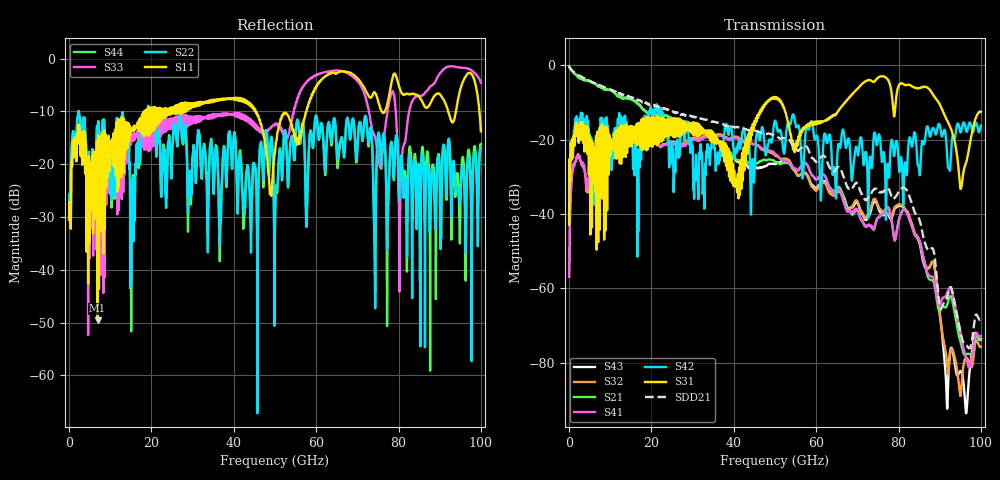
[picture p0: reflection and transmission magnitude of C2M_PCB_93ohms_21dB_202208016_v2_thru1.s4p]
! Info: Touchstone file created by Circ.  Input file=Intel_C2M_200G_8p0in_202208016_staggered.circ
# Hz S RI R 50
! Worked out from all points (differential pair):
!   10000 points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, 10 MHz to 100 GHz, reference 50 ohm
!   strongest paths, dB at 10 MHz, 25.01 GHz, 50.01 GHz, 75.01 GHz, 100 GHz:
!     S31: -42.9, -16.8, -8.6, -3.4, -12.5
!     S42: -42.9, -24.8, -14.9, -19.8, -16.3
!     S41: -56.9, -21.1, -23.8, -41.0, -72.8
!     S21: -0.3, -14.2, -26.0, -41.0, -73.9
!     S32: -56.9, -20.9, -24.3, -37.6, -75.8
!     S43: -0.3, -14.2, -26.7, -38.1, -73.6
!   taken as a pair (ports 1,3 in; 2,4 out), SDD21 dB: -0.3, -12.3, -19.1, -33.7, -68.5
!   lowest |S11| = -49.6 dB at 6.91 GHz (marker M1), VSWR 1.01, Z = 50.1 - j0.323 ohm
!   |S11| at or under -10 dB: start of sweep to 18.39 GHz; 45.3 GHz to 57.64 GHz (12.34 GHz wide, 24 % of centre); 92.05 GHz to 93.95 GHz (1.899 GHz wide, 2.04 % of centre)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
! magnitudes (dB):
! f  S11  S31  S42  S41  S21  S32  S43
! 10 MHz  -30.4  -42.9  -42.9  -56.9  -0.3  -56.9  -0.3
! 6.91 GHz  -49.6  -18.1  -20.0  -21.7  -5.5  -21.6  -5.5
! 65.04 GHz  -2.7  -13.0  -26.9  -33.4  -32.9  -34.3  -33.8
! 80.73 GHz  -6.4  -4.9  -25.2  -39.7  -39.5  -37.6  -37.9
! 91.58 GHz  -8.8  -14.4  -20.2  -61.8  -65.1  -78.0  -86.0
! 95.2 GHz  -5.3  -33.0  -17.9  -73.1  -75.0  -87.6  -82.3
! 100 GHz  -13.8  -12.5  -16.3  -72.8  -73.9  -75.8  -73.6
